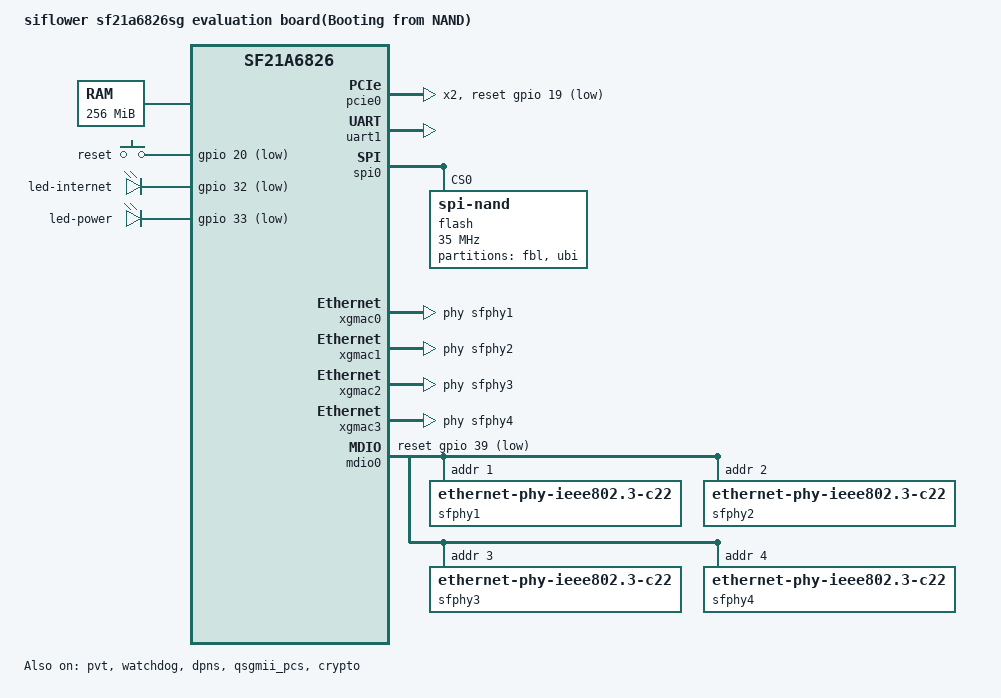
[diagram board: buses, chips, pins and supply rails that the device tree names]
/*
 * Copyright 2022 SiFlower Corporation.
 */

/dts-v1/;
#include "sf21a6826-fullmask.dtsi"

/ {
	model = "siflower sf21a6826sg evaluation board(Booting from NAND)";
	compatible = "siflower,sf21a6826-6826sg_v4-nand", "siflower,sf21a6826";

	chosen {
		stdout-path = "serial1:115200n8";
	};

	memory@20000000 {
		device_type = "memory";
		reg = <0x0 0x20000000 0x0 0x10000000>;
	};

	gpio_keys {
		compatible = "gpio-keys";
		reset {
			label = "reset";
			linux,code = <KEY_RESTART>;
			gpios = <&gpio 20 GPIO_ACTIVE_LOW>;
			debounce-interval = <20>;
		};
	};
};

&cpus {
	timebase-frequency = <1250000000>;
};

&topcrm {
	assigned-clocks = <&topcrm CLK_CMNPLL_VCO>, <&topcrm CLK_PIC>, <&topcrm CLK_AXI>,
		<&topcrm CLK_AHB>, <&topcrm CLK_APB>, <&topcrm CLK_UART>,
		<&topcrm CLK_IRAM>, <&topcrm CLK_NPU>, <&topcrm CLK_ETHTSU>,
		<&topcrm CLK_GMAC_BYP_REF>, <&topcrm CLK_USB>, <&topcrm CLK_USBPHY>,
		<&topcrm CLK_SERDES_CSR>, <&topcrm CLK_CRYPT_CSR>, <&topcrm CLK_CRYPT_APP>,
		<&topcrm CLK_IROM>, <&topcrm CLK_PLL_TEST>;
	assigned-clock-rates = <2500000000>, <416666666>, <416666666>,
		<250000000>, <178571428>, <89285714>,
		<416666666>, <416666666>, <89285714>,
		<250000000>, <250000000>, <50000000>,
		<89285714>, <73529411>, <312500000>,
		<312500000>, <25000000>;
};

&pvt {
	status = "okay";
};

&pcie0 {
	reset-gpios = <&gpio 19 GPIO_ACTIVE_LOW>;
	reset-ms = <100>;
	num-lanes = <2>;
	lane-mode = <1>;
	status = "okay";

	pcie@0,0 {
		reg = <0x0000 0 0 0 0>;
		#address-cells = <3>;
		#size-cells = <2>;

		wifi@0,0 {
			reg = <0x0 0 0 0 0>;
			nvmem-cells = <&mtd_mac_address>, <&mtd_wifi_version>, <&mtd_wifi_info>, <&mtd_rssi_offset>, <&mtd_refpower>, <&mtd_calipower>;
			nvmem-cell-names = "mac-address", "wifi-version", "wifi-info", "rssi-offset", "refpower", "calipower";
			mac-address-increment = <2>;
		};

		wifi@0,1 {
			reg = <0x100 0 0 0 0>;
			nvmem-cells = <&mtd_mac_address>, <&mtd_wifi_version>, <&mtd_wifi_info>, <&mtd_rssi_offset>, <&mtd_refpower>, <&mtd_calipower>;
			nvmem-cell-names = "mac-address", "wifi-version", "wifi-info", "rssi-offset", "refpower", "calipower";
			mac-address-increment = <6>;
		};
	};
};

&pcie1 {
	reset-ms = <100>;
	num-lanes = <1>;
	lane-mode = <0>;
	status = "disabled";
};

&watchdog {
	status = "okay";
};

&uart1 {
	status = "okay";
};

&leds {
	status = "okay";
	led-internet {
		label = "led-internet";
		gpios = <&gpio 32 GPIO_ACTIVE_LOW>;
		linux,default-trigger = "none";
	};
	led-power {
		label = "led-power";
		gpios = <&gpio 33 GPIO_ACTIVE_LOW>;
		linux,default-trigger = "default-on";
	};
};

&spi0 {
	status = "okay";
	flash@0 {
		compatible = "spi-nand";
		reg = <0>;
		spi-max-frequency = <35000000>;
		spi-tx-bus-width = <2>;
		spi-rx-bus-width = <2>;
		#address-cells = <1>;
		#size-cells = <1>;

	        partitions {
			compatible = "fixed-partitions";
			#address-cells = <1>;
			#size-cells = <1>;

			partition@0 {
				label = "fbl";
				reg = <0x0 0x20000>;
			};

			partition@20000 {
				label = "ubi";
				reg = <0x20000 0x0>;
				compatible = "linux,ubi";

				volumes {
					factory: ubi-volume-factory {
						volname = "factory";
					};
				};
			};
		};
	};
};

&i2c0 {
	status = "disabled";
};

&xgmac0 {
	status = "okay";
	phy-handle = <&sfphy1>;
	nvmem-cells = <&mtd_mac_address>;
	nvmem-cell-names = "mac-address";
};

&xgmac1 {
	status = "okay";
	phy-handle = <&sfphy2>;
	nvmem-cells = <&mtd_mac_address>;
	nvmem-cell-names = "mac-address";
};

&xgmac2 {
	status = "okay";
	phy-handle = <&sfphy3>;
	nvmem-cells = <&mtd_mac_address>;
	nvmem-cell-names = "mac-address";
};

&xgmac3 {
	status = "okay";
	phy-handle = <&sfphy4>;
	nvmem-cells = <&mtd_mac_address>;
	nvmem-cell-names = "mac-address";
	mac-address-increment = <1>;
};


&mdio0 {
	reset-gpios = <&gpio 39 GPIO_ACTIVE_LOW>;
	reset-delay-us = <10000>;
	reset-post-delay-us = <100000>;
	clock-frequency = <800000>;

	sfphy1: ethernet-phy@1 {
		compatible = "ethernet-phy-ieee802.3-c22";
		reg = <0x1>;
	};

	sfphy2: ethernet-phy@2 {
		compatible = "ethernet-phy-ieee802.3-c22";
		reg = <0x2>;
	};

	sfphy3: ethernet-phy@3 {
		compatible = "ethernet-phy-ieee802.3-c22";
		reg = <0x3>;
	};

	sfphy4: ethernet-phy@4 {
		compatible = "ethernet-phy-ieee802.3-c22";
		reg = <0x4>;
	};
};

&dpns {
	status = "okay";
};

&edma {
	status = "okay";
};

&qsgmii_pcs {
	status = "okay";
};

&crypto {
	status = "okay";
};

#include "sf21a6826-factory.dtsi"
